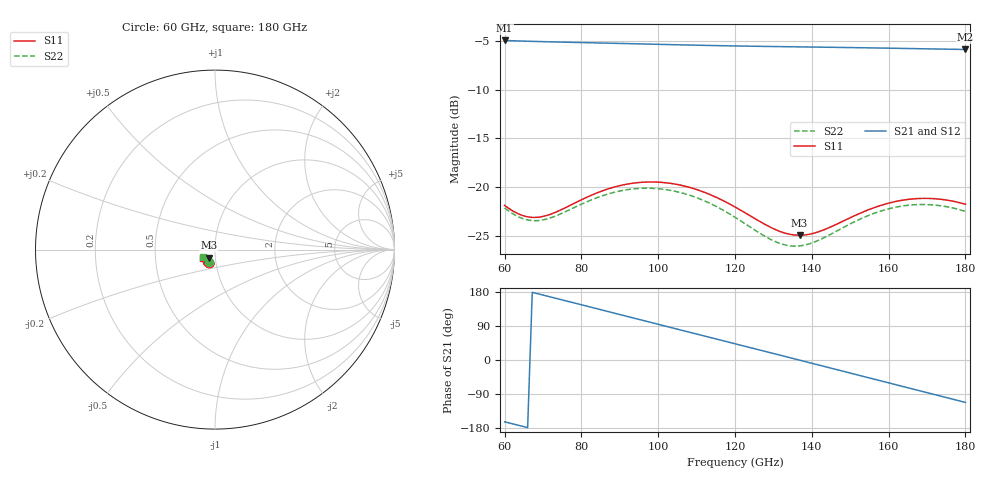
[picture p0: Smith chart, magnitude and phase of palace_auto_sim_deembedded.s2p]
! Created with skrf 1.11.0 (http://scikit-rf.org).
# GHz S DB R 50.0
!freq dBS11 angS11 dBS21 angS21 dBS12 angS12 dBS22 angS22
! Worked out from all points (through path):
!   101 points, 60 GHz to 180 GHz, reference 50 ohm
!   highest |S21| = -4.90 dB at 60 GHz (marker M1); lowest = -5.8 dB at 180 GHz (marker M2)
!   group delay of S21, straight-line fit = 7.15 ps
!   lowest |S11| = -25.0 dB at 136.8 GHz (marker M3), VSWR 1.12, Z = 46.4 - j4.1 ohm
!   |S11| at or under -10 dB: start of sweep to end of sweep
!   |S22| runs from -26.1 to -20.1 dB; largest |S21 - S12| = 6.4e-14
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60  -21.90 -115.1  -4.90 -163.2  -4.90 -163.2  -22.17 -115.8
64.8  -22.96 -108.5  -4.97 -175.4  -4.97 -175.4  -23.27 -109.3
68.4  -23.13 -102.4  -5.01 175.5  -5.01 175.5  -23.47 -103.4
74.4  -22.41 -95.6  -5.07 160.1  -5.07 160.1  -22.80 -96.9
80.4  -21.24 -95.4  -5.12 144.7  -5.12 144.7  -21.70 -96.9
86.4  -20.27 -100.0  -5.17 129.3  -5.17 129.3  -20.78 -101.8
91.2  -19.76 -105.7  -5.22 116.9  -5.22 116.9  -20.32 -107.7
96  -19.51 -112.2  -5.26 104.5  -5.26 104.5  -20.13 -114.5
100.8  -19.52 -119.1  -5.31 92.2  -5.31 92.2  -20.21 -121.6
105.6  -19.79 -125.9  -5.35 79.8  -5.35 79.8  -20.55 -128.6
110.4  -20.31 -132.0  -5.39 67.5  -5.39 67.5  -21.16 -134.9
120  -22.06 -140.3  -5.47 42.9  -5.47 42.9  -23.12 -143.0
128.4  -23.98 -139.3  -5.52 21.3  -5.52 21.3  -25.21 -140.7
133.2  -24.77 -134.0  -5.54 8.9  -5.54 8.9  -25.99 -134.1
136.8  -24.97 -128.7  -5.56 -0.3  -5.56 -0.3  -26.07 -128.0
140.4  -24.78 -123.6  -5.58 -9.6  -5.58 -9.6  -25.71 -122.7
150  -23.17 -118.0  -5.63 -34.4  -5.63 -34.4  -23.80 -118.3
156  -22.16 -120.4  -5.67 -49.9  -5.67 -49.9  -22.74 -121.9
160.8  -21.59 -124.3  -5.70 -62.4  -5.70 -62.4  -22.17 -126.6
165.6  -21.26 -129.2  -5.73 -74.8  -5.73 -74.8  -21.86 -132.1
170.4  -21.18 -134.5  -5.77 -87.1  -5.77 -87.1  -21.82 -138.1
180  -21.78 -144.4  -5.83 -111.9  -5.83 -111.9  -22.52 -149.0
